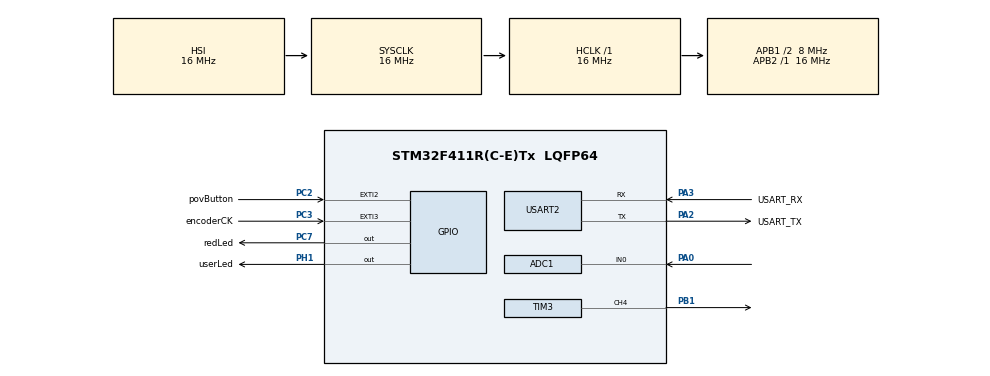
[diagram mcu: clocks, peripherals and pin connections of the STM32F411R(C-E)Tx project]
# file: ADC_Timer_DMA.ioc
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ADC1.Channel-0\#ChannelRegularConversion=ADC_CHANNEL_0
ADC1.ExternalTrigConv=ADC_EXTERNALTRIGCONV_T3_TRGO
ADC1.NbrOfConversionFlag=1
ADC1.Rank-0\#ChannelRegularConversion=1
ADC1.SamplingTime-0\#ChannelRegularConversion=ADC_SAMPLETIME_3CYCLES
ADC1.master=1
Dma.ADC1.0.Direction=DMA_PERIPH_TO_MEMORY
Dma.ADC1.0.FIFOMode=DMA_FIFOMODE_DISABLE
Dma.ADC1.0.Instance=DMA2_Stream0
Dma.ADC1.0.MemDataAlignment=DMA_MDATAALIGN_HALFWORD
Dma.ADC1.0.MemInc=DMA_MINC_ENABLE
Dma.ADC1.0.Mode=DMA_CIRCULAR
Dma.ADC1.0.PeriphDataAlignment=DMA_PDATAALIGN_HALFWORD
Dma.ADC1.0.PeriphInc=DMA_PINC_DISABLE
Dma.ADC1.0.Priority=DMA_PRIORITY_LOW
Dma.Request0=ADC1
Mcu.Family=STM32F4
Mcu.Name=STM32F411R(C-E)Tx
Mcu.Package=LQFP64
NVIC.DMA2_Stream0_IRQn=true\:0\:0\:false\:false\:true\:false\:true\:true
NVIC.EXTI2_IRQn=true\:0\:0\:false\:false\:true\:true\:true\:true
NVIC.EXTI3_IRQn=true\:0\:0\:false\:false\:true\:true\:true\:true
NVIC.PriorityGroup=NVIC_PRIORITYGROUP_0
NVIC.TIM2_IRQn=true\:0\:0\:false\:false\:true\:true\:true\:true
NVIC.USART2_IRQn=true\:0\:0\:false\:false\:true\:true\:true\:true
PA0-WKUP.Signal=ADCx_IN0
PA13.GPIO_Label=TMS
PA13.Mode=Serial_Wire
PA13.Signal=SYS_JTMS-SWDIO
PA14.GPIO_Label=TCK
PA14.Mode=Serial_Wire
PA14.Signal=SYS_JTCK-SWCLK
PA2.GPIO_Label=USART_TX
PA2.Mode=Asynchronous
PA2.Signal=USART2_TX
PA3.GPIO_Label=USART_RX
PA3.Mode=Asynchronous
PA3.Signal=USART2_RX
PB1.Signal=S_TIM3_CH4
PB3.GPIO_Label=SWO
PB3.Signal=SYS_JTDO-SWO
PC2.GPIO_Label=povButton
PC2.Signal=GPXTI2
PC3.GPIO_Label=encoderCK
PC3.Signal=GPXTI3
PC7.GPIO_Label=redLed
PC7.Signal=GPIO_Output
PH1\ -\ OSC_OUT.GPIO_Label=userLed
PH1\ -\ OSC_OUT.GPIO_Speed=GPIO_SPEED_FREQ_HIGH
PH1\ -\ OSC_OUT.Signal=GPIO_Output
ProjectManager.HeapSize=0x200
ProjectManager.StackSize=0x400
ProjectManager.TargetToolchain=STM32CubeIDE
RCC.48MHZClocksFreq_Value=84000000
RCC.AHBFreq_Value=16000000
RCC.APB1CLKDivider=RCC_HCLK_DIV2
RCC.APB1Freq_Value=8000000
RCC.APB1TimFreq_Value=16000000
RCC.APB2Freq_Value=16000000
RCC.APB2TimFreq_Value=16000000
RCC.CortexFreq_Value=16000000
RCC.FLatency-AdvancedSettings=FLASH_LATENCY_0
RCC.HCLKFreq_Value=16000000
RCC.HSE_VALUE=8000000
RCC.HSI_VALUE=16000000
RCC.PLLN=336
RCC.PLLP=RCC_PLLP_DIV4
RCC.SYSCLKFreq_VALUE=16000000
RCC.VCOOutputFreq_Value=336000000
SH.ADCx_IN0.0=ADC1_IN0,IN0
SH.S_TIM3_CH4.0=TIM3_CH4,PWM Generation4 CH4
TIM2.AutoReloadPreload=TIM_AUTORELOAD_PRELOAD_ENABLE
TIM2.Period=250-1
TIM2.Prescaler=16000-1
TIM3.AutoReloadPreload=TIM_AUTORELOAD_PRELOAD_ENABLE
TIM3.Channel-PWM\ Generation4\ CH4=TIM_CHANNEL_4
TIM3.Period=1200
TIM3.Prescaler=25
TIM3.Pulse-PWM\ Generation4\ CH4=25
USART2.VirtualMode=VM_ASYNC
VP_TIM2_VS_ClockSourceINT.Mode=Internal
VP_TIM3_VS_ClockSourceINT.Mode=Internal
board=NUCLEO-F411RE

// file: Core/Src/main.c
/* USER CODE BEGIN Header */
/**
  ******************************************************************************
  * @file           : main.c
  * @brief          : Main program body
  ******************************************************************************
  * @attention
  *
  * Copyright (c) 2025 STMicroelectronics.
  * All rights reserved.
  *
  * This software is licensed under terms that can be found in the LICENSE file
  * in the root directory of this software component.
  * If no LICENSE file comes with this software, it is provided AS-IS.
  *
  ******************************************************************************
  */
/* USER CODE END Header */
#include "main.h"

/* USER CODE BEGIN PD */
#define ADC_BUFFER_SIZE 512
/* USER CODE END PD */

ADC_HandleTypeDef hadc1;
DMA_HandleTypeDef hdma_adc1;

TIM_HandleTypeDef htim2;
TIM_HandleTypeDef htim3;

UART_HandleTypeDef huart2;

/* USER CODE BEGIN PV */
uint8_t bufferMsg [128] ={0};
uint8_t arraySize =0;
uint8_t stringLength =0;
uint8_t contador =0;
uint8_t auxReception =0;

uint16_t adcBuffer [ADC_BUFFER_SIZE]={0};
uint16_t dmaEventCounter =0;

/* USER CODE END PV */

void SystemClock_Config(void);
static void MX_GPIO_Init(void);
static void MX_DMA_Init(void);
static void MX_USART2_UART_Init(void);
static void MX_ADC1_Init(void);
static void MX_TIM2_Init(void);
static void MX_TIM3_Init(void);

int main(void)
{

  /* MCU Configuration--------------------------------------------------------*/

  /* Reset of all peripherals, Initializes the Flash interface and the Systick. */
  HAL_Init();

  /* Configure the system clock */
  SystemClock_Config();

  /* Initialize all configured peripherals */
  MX_GPIO_Init();
  MX_DMA_Init();
  MX_USART2_UART_Init();
  MX_ADC1_Init();
  MX_TIM2_Init();
  MX_TIM3_Init();

  /* Infinite loop */
  /* USER CODE BEGIN WHILE */
  HAL_UART_Transmit(&huart2, (const uint8_t *) "Hola mundo!\n", 12, 1000);

  __NOP();

  HAL_UART_Receive_IT(&huart2, &auxReception, 1);

  HAL_TIM_Base_Start(&htim3);
  HAL_TIM_PWM_Start(&htim3, TIM_CHANNEL_4);

  while (1)
  {
    /* USER CODE END WHILE */

    /* USER CODE BEGIN 3 */
	  if (auxReception != '\0'){
		  if (auxReception== 'm'){
			  sprintf ((char *)bufferMsg, "Ha llegado un caracter 'm' por el puerto serial!\n");
			  HAL_UART_Transmit(&huart2, bufferMsg, strlen ((char*)bufferMsg),1000);
			  // Anulamos el caracter para que no se vuelva a entrar a este bloque hasta que
			  // no llegue otro caracter
			  auxReception= '\0';
		  }
		  if (auxReception== 'c'){
			  sprintf ((char *)bufferMsg, "Start new ADC \n");
			  HAL_UART_Transmit(&huart2, bufferMsg, strlen ((char*)bufferMsg),1000);
			  // Anulamos el caracter para que no se vuelva a entrar a este bloque hasta que
			  // no llegue otro caracter
			  HAL_ADC_Start_DMA(&hadc1, (uint32_t *)adcBuffer, ADC_BUFFER_SIZE);
			  auxReception= '\0';
		  }
		  if (auxReception== 'g'){
			  sprintf ((char *)bufferMsg, "To graphics... \n");
			  HAL_UART_Transmit(&huart2, bufferMsg, strlen ((char*)bufferMsg),1000);

			  for (uint16_t counter =0; counter< ADC_BUFFER_SIZE; counter ++){
				  sprintf ((char *)bufferMsg, "adcValue = %u\n", (unsigned int ) adcBuffer [counter]);
				  HAL_UART_Transmit(&huart2, bufferMsg, strlen((char *)bufferMsg), 1000);
			  }
			  // Anulamos el caracter para que no se vuelva a entrar a este bloque hasta que
			  // no llegue otro caracter

			  auxReception= '\0';
		  }
	  }
  }
  /* USER CODE END 3 */
}

void SystemClock_Config(void)
{
  RCC_OscInitTypeDef RCC_OscInitStruct = {0};
  RCC_ClkInitTypeDef RCC_ClkInitStruct = {0};

  /** Configure the main internal regulator output voltage
  */
  __HAL_RCC_PWR_CLK_ENABLE();
  __HAL_PWR_VOLTAGESCALING_CONFIG(PWR_REGULATOR_VOLTAGE_SCALE1);

  /** Initializes the RCC Oscillators according to the specified parameters
  * in the RCC_OscInitTypeDef structure.
  */
  RCC_OscInitStruct.OscillatorType = RCC_OSCILLATORTYPE_HSI;
  RCC_OscInitStruct.HSIState = RCC_HSI_ON;
  RCC_OscInitStruct.HSICalibrationValue = RCC_HSICALIBRATION_DEFAULT;
  RCC_OscInitStruct.PLL.PLLState = RCC_PLL_NONE;
  if (HAL_RCC_OscConfig(&RCC_OscInitStruct) != HAL_OK)
  {
    Error_Handler();
  }

  /** Initializes the CPU, AHB and APB buses clocks
  */
  RCC_ClkInitStruct.ClockType = RCC_CLOCKTYPE_HCLK|RCC_CLOCKTYPE_SYSCLK
                              |RCC_CLOCKTYPE_PCLK1|RCC_CLOCKTYPE_PCLK2;
  RCC_ClkInitStruct.SYSCLKSource = RCC_SYSCLKSOURCE_HSI;
  RCC_ClkInitStruct.AHBCLKDivider = RCC_SYSCLK_DIV1;
  RCC_ClkInitStruct.APB1CLKDivider = RCC_HCLK_DIV2;
  RCC_ClkInitStruct.APB2CLKDivider = RCC_HCLK_DIV1;

  if (HAL_RCC_ClockConfig(&RCC_ClkInitStruct, FLASH_LATENCY_0) != HAL_OK)
  {
    Error_Handler();
  }
}

static void MX_ADC1_Init(void)
{

  ADC_ChannelConfTypeDef sConfig = {0};

  /** Configure the global features of the ADC (Clock, Resolution, Data Alignment and number of conversion)
  */
  hadc1.Instance = ADC1;
  hadc1.Init.ClockPrescaler = ADC_CLOCK_SYNC_PCLK_DIV2;
  hadc1.Init.Resolution = ADC_RESOLUTION_12B;
  hadc1.Init.ScanConvMode = DISABLE;
  hadc1.Init.ContinuousConvMode = DISABLE;
  hadc1.Init.DiscontinuousConvMode = DISABLE;
  hadc1.Init.ExternalTrigConvEdge = ADC_EXTERNALTRIGCONVEDGE_RISING;
  hadc1.Init.ExternalTrigConv = ADC_EXTERNALTRIGCONV_T3_TRGO;
  hadc1.Init.DataAlign = ADC_DATAALIGN_RIGHT;
  hadc1.Init.NbrOfConversion = 1;
  hadc1.Init.DMAContinuousRequests = DISABLE;
  hadc1.Init.EOCSelection = ADC_EOC_SINGLE_CONV;
  if (HAL_ADC_Init(&hadc1) != HAL_OK)
  {
    Error_Handler();
  }

  /** Configure for the selected ADC regular channel its corresponding rank in the sequencer and its sample time.
  */
  sConfig.Channel = ADC_CHANNEL_0;
  sConfig.Rank = 1;
  sConfig.SamplingTime = ADC_SAMPLETIME_3CYCLES;
  if (HAL_ADC_ConfigChannel(&hadc1, &sConfig) != HAL_OK)
  {
    Error_Handler();
  }

}

static void MX_TIM2_Init(void)
{

  TIM_ClockConfigTypeDef sClockSourceConfig = {0};
  TIM_MasterConfigTypeDef sMasterConfig = {0};

  htim2.Instance = TIM2;
  htim2.Init.Prescaler = 16000-1;
  htim2.Init.CounterMode = TIM_COUNTERMODE_UP;
  htim2.Init.Period = 250-1;
  htim2.Init.ClockDivision = TIM_CLOCKDIVISION_DIV1;
  htim2.Init.AutoReloadPreload = TIM_AUTORELOAD_PRELOAD_ENABLE;
  if (HAL_TIM_Base_Init(&htim2) != HAL_OK)
  {
    Error_Handler();
  }
  sClockSourceConfig.ClockSource = TIM_CLOCKSOURCE_INTERNAL;
  if (HAL_TIM_ConfigClockSource(&htim2, &sClockSourceConfig) != HAL_OK)
  {
    Error_Handler();
  }
  sMasterConfig.MasterOutputTrigger = TIM_TRGO_RESET;
  sMasterConfig.MasterSlaveMode = TIM_MASTERSLAVEMODE_DISABLE;
  if (HAL_TIMEx_MasterConfigSynchronization(&htim2, &sMasterConfig) != HAL_OK)
  {
    Error_Handler();
  }

}

static void MX_TIM3_Init(void)
{

  TIM_ClockConfigTypeDef sClockSourceConfig = {0};
  TIM_MasterConfigTypeDef sMasterConfig = {0};
  TIM_OC_InitTypeDef sConfigOC = {0};

  htim3.Instance = TIM3;
  htim3.Init.Prescaler = 25;
  htim3.Init.CounterMode = TIM_COUNTERMODE_UP;
  htim3.Init.Period = 1200;
  htim3.Init.ClockDivision = TIM_CLOCKDIVISION_DIV1;
  htim3.Init.AutoReloadPreload = TIM_AUTORELOAD_PRELOAD_ENABLE;
  if (HAL_TIM_Base_Init(&htim3) != HAL_OK)
  {
    Error_Handler();
  }
  sClockSourceConfig.ClockSource = TIM_CLOCKSOURCE_INTERNAL;
  if (HAL_TIM_ConfigClockSource(&htim3, &sClockSourceConfig) != HAL_OK)
  {
    Error_Handler();
  }
  if (HAL_TIM_PWM_Init(&htim3) != HAL_OK)
  {
    Error_Handler();
  }
  sMasterConfig.MasterOutputTrigger = TIM_TRGO_RESET;
  sMasterConfig.MasterSlaveMode = TIM_MASTERSLAVEMODE_DISABLE;
  if (HAL_TIMEx_MasterConfigSynchronization(&htim3, &sMasterConfig) != HAL_OK)
  {
    Error_Handler();
  }
  sConfigOC.OCMode = TIM_OCMODE_PWM1;
  sConfigOC.Pulse = 25;
  sConfigOC.OCPolarity = TIM_OCPOLARITY_HIGH;
  sConfigOC.OCFastMode = TIM_OCFAST_DISABLE;
  if (HAL_TIM_PWM_ConfigChannel(&htim3, &sConfigOC, TIM_CHANNEL_4) != HAL_OK)
  {
    Error_Handler();
  }
  HAL_TIM_MspPostInit(&htim3);

}

static void MX_USART2_UART_Init(void)
{

  huart2.Instance = USART2;
  huart2.Init.BaudRate = 115200;
  huart2.Init.WordLength = UART_WORDLENGTH_8B;
  huart2.Init.StopBits = UART_STOPBITS_1;
  huart2.Init.Parity = UART_PARITY_NONE;
  huart2.Init.Mode = UART_MODE_TX_RX;
  huart2.Init.HwFlowCtl = UART_HWCONTROL_NONE;
  huart2.Init.OverSampling = UART_OVERSAMPLING_16;
  if (HAL_UART_Init(&huart2) != HAL_OK)
  {
    Error_Handler();
  }

}

static void MX_DMA_Init(void)
{

  /* DMA controller clock enable */
  __HAL_RCC_DMA2_CLK_ENABLE();

  /* DMA interrupt init */
  /* DMA2_Stream0_IRQn interrupt configuration */
  HAL_NVIC_SetPriority(DMA2_Stream0_IRQn, 0, 0);
  HAL_NVIC_EnableIRQ(DMA2_Stream0_IRQn);

}

static void MX_GPIO_Init(void)
{
  GPIO_InitTypeDef GPIO_InitStruct = {0};

  /* GPIO Ports Clock Enable */
  __HAL_RCC_GPIOH_CLK_ENABLE();
  __HAL_RCC_GPIOC_CLK_ENABLE();
  __HAL_RCC_GPIOA_CLK_ENABLE();
  __HAL_RCC_GPIOB_CLK_ENABLE();

  /*Configure GPIO pin Output Level */
  HAL_GPIO_WritePin(userLed_GPIO_Port, userLed_Pin, GPIO_PIN_RESET);

  /*Configure GPIO pin Output Level */
  HAL_GPIO_WritePin(redLed_GPIO_Port, redLed_Pin, GPIO_PIN_RESET);

  /*Configure GPIO pin : userLed_Pin */
  GPIO_InitStruct.Pin = userLed_Pin;
  GPIO_InitStruct.Mode = GPIO_MODE_OUTPUT_PP;
  GPIO_InitStruct.Pull = GPIO_NOPULL;
  GPIO_InitStruct.Speed = GPIO_SPEED_FREQ_HIGH;
  HAL_GPIO_Init(userLed_GPIO_Port, &GPIO_InitStruct);

  /*Configure GPIO pins : povButton_Pin encoderCK_Pin */
  GPIO_InitStruct.Pin = povButton_Pin|encoderCK_Pin;
  GPIO_InitStruct.Mode = GPIO_MODE_IT_RISING;
  GPIO_InitStruct.Pull = GPIO_NOPULL;
  HAL_GPIO_Init(GPIOC, &GPIO_InitStruct);

  /*Configure GPIO pin : redLed_Pin */
  GPIO_InitStruct.Pin = redLed_Pin;
  GPIO_InitStruct.Mode = GPIO_MODE_OUTPUT_PP;
  GPIO_InitStruct.Pull = GPIO_NOPULL;
  GPIO_InitStruct.Speed = GPIO_SPEED_FREQ_LOW;
  HAL_GPIO_Init(redLed_GPIO_Port, &GPIO_InitStruct);

  /* EXTI interrupt init*/
  HAL_NVIC_SetPriority(EXTI2_IRQn, 0, 0);
  HAL_NVIC_EnableIRQ(EXTI2_IRQn);

  HAL_NVIC_SetPriority(EXTI3_IRQn, 0, 0);
  HAL_NVIC_EnableIRQ(EXTI3_IRQn);

}

/* USER CODE BEGIN 4 */
// Callback generico para los timers...
void HAL_TIM_PeriodElapsedCallback (TIM_HandleTypeDef *htim){
	//Verificando que el TIM2 es el que lanza la interrupcion
	if (htim->Instance == TIM2){
		HAL_GPIO_TogglePin(userLed_GPIO_Port, userLed_Pin);
	}
}

//Callback generico para la recepcion serial
void HAL_UART_RxCplCallback (UART_HandleTypeDef *huart){
	//Verificando que es el USART2
	if (huart ->Instance ==USART2){
		HAL_UART_Receive_IT(huart, &auxReception, 1);
		__NOP();
	}
}

void HAL_ADC_ConvCplCallback (ADC_HandleTypeDef *hadc){

}
/* USER CODE END 4 */

void Error_Handler(void)
{
  __disable_irq();
  while (1)
  {
  }
}
